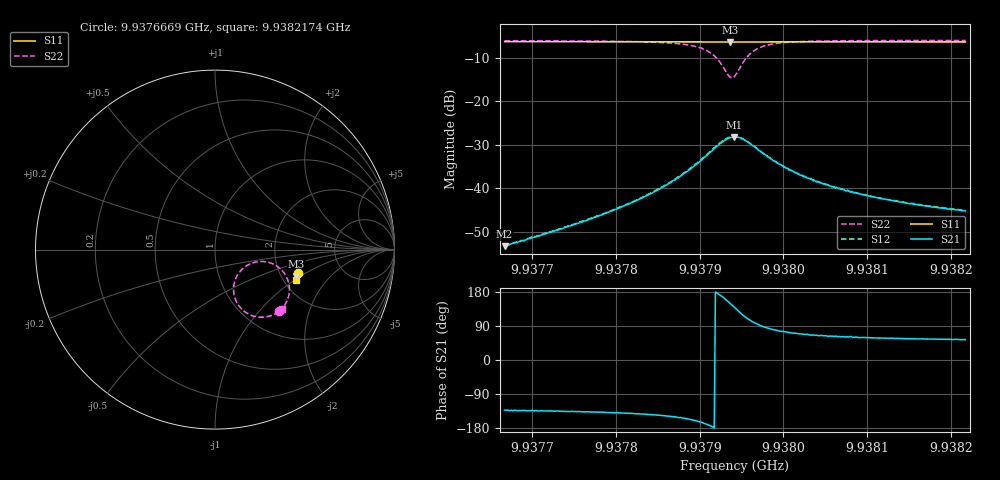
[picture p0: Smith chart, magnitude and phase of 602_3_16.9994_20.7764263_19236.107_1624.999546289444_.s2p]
#  HZ  S  RI  R  50.00
! Rohde & Schwarz Vector Network Analyzer
! Rohde-Schwarz,ZNB20-2Port,1311601062101988,3.16
! Created: UTC 3/20/2024, 11:19:05 PM
! freq[Hz]  re:S11  im:S11  re:S21  im:S21  re:S12  im:S12  re:S22  im:S22
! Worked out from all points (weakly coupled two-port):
!   401 points, 9.9376669 GHz to 9.9382174 GHz, reference 50 ohm
!   highest |S21| = -28.20 dB at 9.9379408 GHz (marker M1); lowest = -53.3 dB at 9.9376669 GHz (marker M2)
!   lowest |S11| = -6.4 dB at 9.9379367 GHz (marker M3), VSWR 2.82, Z = 120 - j46.1 ohm
!   |S11| at or under -10 dB: nowhere
!   |S22| runs from -14.6 to -6.1 dB; largest |S21 - S12| = 0.0018
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9.93766693e9  0.4635 -0.1325  -0.00146 -0.00161  -0.00153 -0.00161  0.3555 -0.3437
9.93769032e9  0.4628 -0.1341  -0.00171 -0.00182  -0.00179 -0.00182  0.352 -0.3464
9.93775913e9  0.4613 -0.1386  -0.00298 -0.0028  -0.00311 -0.00282  0.3374 -0.3561
9.93780867e9  0.4598 -0.1421  -0.00478 -0.00404  -0.00494 -0.00398  0.319 -0.3651
9.93785133e9  0.4585 -0.1451  -0.00805 -0.00544  -0.00832 -0.00546  0.2885 -0.3743
9.93788298e9  0.4569 -0.1473  -0.0136 -0.00653  -0.014 -0.00646  0.2408 -0.376
9.93790638e9  0.4553 -0.1489  -0.0224 -0.00478  -0.023 -0.00434  0.1715 -0.3503
9.93792014e9  0.4537 -0.1493  -0.03 0.00126  -0.0309 0.00207  0.1187 -0.2888
9.9379284e9  0.4531 -0.1489  -0.0335 0.009  -0.0341 0.0106  0.1034 -0.2203
9.93793665e9  0.4527 -0.1482  -0.0326 0.0201  -0.0326 0.0215  0.1281 -0.1372
9.93794078e9  0.4529 -0.1478  -0.0299 0.0249  -0.0295 0.0264  0.1592 -0.102
9.93794216e9  0.4529 -0.1476  -0.0284 0.0262  -0.0281 0.0279  0.1721 -0.0923
9.93794904e9  0.4535 -0.1472  -0.0206 0.0314  -0.0197 0.0325  0.2425 -0.0669
9.9379573e9  0.4544 -0.1476  -0.0112 0.0322  -0.0101 0.0328  0.318 -0.0776
9.93796418e9  0.455 -0.1481  -0.00518 0.03  -0.00407 0.0304  0.3607 -0.104
9.93797106e9  0.4554 -0.1487  -0.00115 0.027  -0.000232 0.0274  0.387 -0.1331
9.93798344e9  0.4555 -0.1501  0.00267 0.0223  0.00338 0.0221  0.4086 -0.1787
9.93799996e9  0.4555 -0.1517  0.0046 0.0172  0.00517 0.0171  0.4146 -0.221
9.93803436e9  0.4548 -0.1545  0.00526 0.0114  0.00531 0.0114  0.4077 -0.2681
9.93807702e9  0.4535 -0.1577  0.00454 0.00816  0.00481 0.00821  0.3966 -0.2952
9.93812656e9  0.4524 -0.1611  0.00395 0.00617  0.0041 0.00616  0.3867 -0.3119
9.93821739e9  0.4498 -0.167  0.00324 0.00443  0.00336 0.00444  0.374 -0.3282
